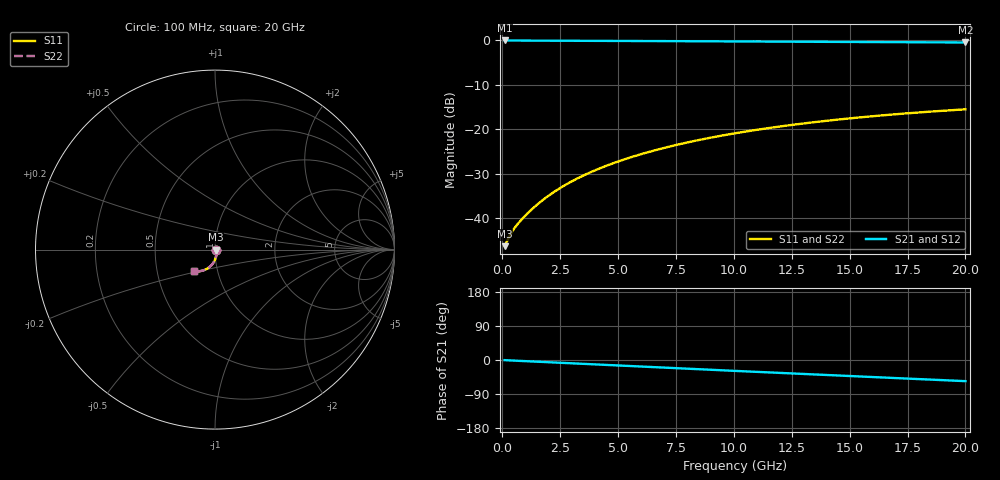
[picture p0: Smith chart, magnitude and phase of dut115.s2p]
! Touchstone file exported from HFSS 2026.1.0
!  File:  C:/ffzhzh/LocalFiles/Ansys_Project_Files/temp_train_BSMRDL_115_1782985930_6248.aedt
!  Generated:  05:53:50 PM Jul  2, 2026
!  Design:  BSMRDL
!  Project:  temp_train_BSMRDL_115_1782985930_6248
! Variables:
!  h_bsmrdl = 3.77um
!  h_ox = 20um
!  h_rdl = 5um
!  h_sub = 80um
!  h_tmrdl = 5um
!  h_tsv = 80um
!  h_via = 3um
!  l_bsmrdl = 987.98um
!  l_sub = 1387.98um
!  l_tmrdl = 200um
!  m_sub = 200um
!  pitch = 23.02um
!  r_tsv = 6um
!  s_tmrdl = 10um
!  w_bsmrdl = 20.64um
!  w_sub = 500um
!  w_tmrdl = 12um
!  x_tsv_center1 = 206um
!  x_tsv_center2 = 1214.62um
!  x_tsv_center3 = 1426.62um
!  x_tsv_center4 = 2435.24um
!  x_tsv_center5 = 2647.24um
!  x_tsv_center6 = 3655.86um
# GHz S MA R 50.000000
! Terminal data exported
! Port[1] = BSM_RDL1_1_T1
! Port[2] = BSM_RDL1_1_T2
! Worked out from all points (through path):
!   200 points, 100 MHz to 20 GHz, reference 50 ohm
!   highest |S21| = -0.04 dB at 100 MHz (marker M1); lowest = -0.5 dB at 20 GHz (marker M2)
!   group delay of S21, straight-line fit = 7.72 ps
!   lowest |S11| = -46.3 dB at 100 MHz (marker M3), VSWR 1.01, Z = 50.5 + j0.0278 ohm
!   |S11| at or under -10 dB: start of sweep to end of sweep
!   |S22| runs from -46.3 to -15.5 dB; largest |S21 - S12| = 1.6e-12
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0.1  0.004833 3.3  0.9952 -0.4  0.9952 -0.4  0.004833 3.3
! Gamma 0 0 0 0
! Port Impedance 50 0 50 0
0.3  0.006175 -1.2  0.9938 -1.0  0.9938 -1.0  0.006174 -1.2
0.4  0.006879 -6.6  0.9931 -1.3  0.9931 -1.3  0.006878 -6.6
0.6  0.008178 -18.0  0.9921 -1.9  0.9921 -1.9  0.008176 -18.0
0.9  0.01006 -32.3  0.9912 -2.8  0.9912 -2.8  0.01006 -32.3
1.3  0.01272 -45.7  0.9905 -3.9  0.9905 -3.9  0.01272 -45.7
1.8  0.01634 -56.6  0.9897 -5.4  0.9897 -5.4  0.01634 -56.7
2.3  0.0202 -64.0  0.9889 -6.8  0.9889 -6.8  0.02019 -64.0
2.9  0.02506 -70.3  0.9878 -8.5  0.9878 -8.5  0.02505 -70.3
3.5  0.0301 -75.0  0.9867 -10.3  0.9867 -10.3  0.03008 -75.0
4.2  0.03616 -79.4  0.9852 -12.3  0.9852 -12.3  0.03614 -79.4
5  0.04329 -83.5  0.9834 -14.6  0.9834 -14.6  0.04326 -83.6
5.9  0.05149 -87.5  0.9812 -17.1  0.9812 -17.1  0.05146 -87.6
6.8  0.05981 -91.2  0.979 -19.7  0.979 -19.7  0.05977 -91.3
7.6  0.06726 -94.3  0.9769 -21.9  0.9769 -21.9  0.06721 -94.4
8.4  0.07471 -97.2  0.9748 -24.2  0.9748 -24.2  0.07466 -97.3
10.1  0.09038 -103.2  0.9704 -28.9  0.9704 -28.9  0.09031 -103.3
11.7  0.1047 -108.6  0.9662 -33.3  0.9662 -33.3  0.1046 -108.7
13.4  0.1193 -114.0  0.9617 -37.9  0.9617 -37.9  0.1192 -114.2
15  0.1323 -119.1  0.9575 -42.3  0.9575 -42.3  0.1322 -119.2
16.7  0.1452 -124.2  0.9531 -46.9  0.9531 -46.9  0.145 -124.4
20  0.1672 -133.9  0.9445 -55.8  0.9445 -55.8  0.167 -134.2
